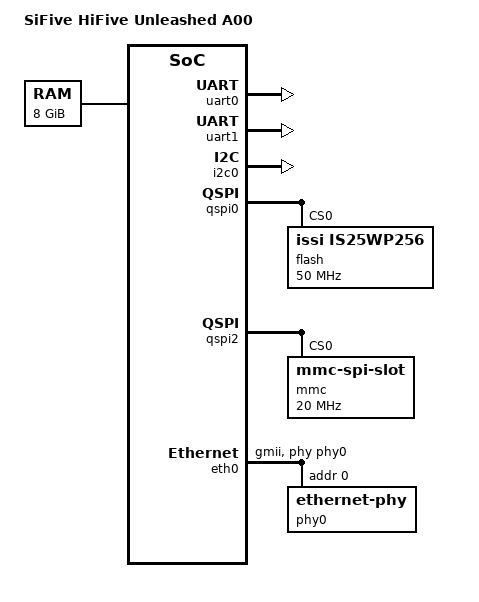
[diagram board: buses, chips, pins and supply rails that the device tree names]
/*
 * This file is part of the Linux kernel.
 *
 * Copyright (c) 2018-2019 SiFive, Inc
 *
 * This program is free software; you can redistribute it and/or modify
 * it under the terms of the GNU General Public License as published by
 * the Free Software Foundation; version 2 of the License.
 *
 * This program is distributed in the hope that it will be useful,
 * but WITHOUT ANY WARRANTY; without even the implied warranty of
 * MERCHANTABILITY or FITNESS FOR A PARTICULAR PURPOSE.  See the
 * GNU General Public License for more details.
 */

/include/ "fu540-c000.dtsi"

/ {
	#address-cells = <2>;
	#size-cells = <2>;
	model = "SiFive HiFive Unleashed A00";
	compatible = "sifive,hifive-unleashed-a00", "sifive,fu540-c000";

	chosen {
	};

	cpus {
		/* Clock frequency (in Hz) of the PCB crystal for rtcclk */
		timebase-frequency = <1000000>;
	};

	memory@80000000 {
		device_type = "memory";
		reg = <0x0 0x80000000 0x2 0x00000000>;
	};

	soc {
	};

	hfclk: hfclk {
		#clock-cells = <0>;
		compatible = "fixed-clock";
		clock-frequency = <33333333>;
		clock-output-names = "hfclk";
	};

	rtcclk: rtcclk {
		#clock-cells = <0>;
		compatible = "fixed-clock";
		clock-frequency = <1000000>;
		clock-output-names = "rtcclk";
	};
};

&uart0 {
	status = "okay";
};

&uart1 {
	status = "okay";
};

&i2c0 {
	status = "okay";
};

&qspi0 {
	status = "okay";
	flash@0 {
		compatible = "issi,is25wp256", "jedec,spi-nor";
		reg = <0>;
		spi-max-frequency = <50000000>;
		m25p,fast-read;
		spi-tx-bus-width = <4>;
		spi-rx-bus-width = <4>;
	};
};

&qspi2 {
	status = "okay";
	mmc@0 {
		compatible = "mmc-spi-slot";
		reg = <0>;
		spi-max-frequency = <20000000>;
		voltage-ranges = <3300 3300>;
		disable-wp;
	};
};

&eth0 {
	status = "okay";
	phy-mode = "gmii";
	phy-handle = <&phy0>;
	phy0: ethernet-phy@0 {
		reg = <0>;
	};
};
